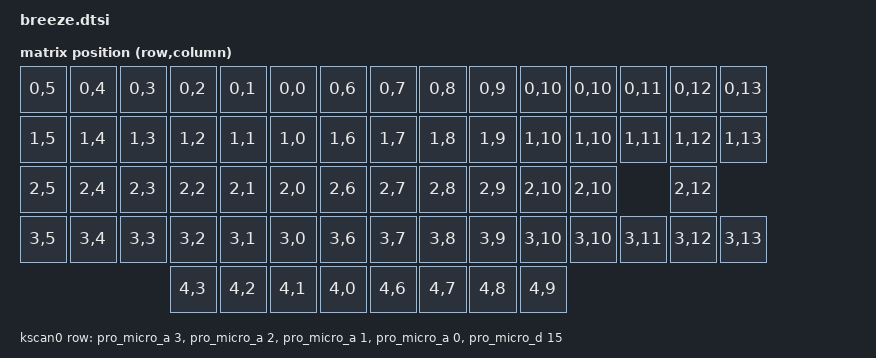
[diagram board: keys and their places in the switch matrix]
/*
 * Copyright (c) 2020 Pete Johanson
 *
 * SPDX-License-Identifier: MIT
 */

#include <dt-bindings/zmk/matrix_transform.h>

/ {
	chosen {
		zmk,kscan = &kscan0;
		zmk,matrix_transform = &default_transform;
	};

	default_transform: keymap_transform_0 {
		compatible = "zmk,matrix-transform";
		columns = <14>;
		rows = <5>;

// | L00 | L01 | L02 | L03 | L04 | L05 |           | R00 | R01 | R02 | R03 | R04 | R05 | MC0 | MC1 | MC2 |
// | L10 | L11 | L12 | L13 | L14 | L15 |           | R10 | R11 | R12 | R13 | R14 | R15 | MC3 | MC4 | MC5 |
// | L20 | L21 | L22 | L23 | L24 | L25 |           | R20 | R21 | R22 | R23 | R24 | R25 |     | AUP |     |
// | L30 | L31 | L32 | L33 | L34 | L35 |           | R30 | R31 | R32 | R33 | R34 | R35 | ALT | ADN | ART |
// |                   LT0 | LT1 | LT2 | LT3 | RT0 | RT1 | RT2 | RT3 

                 map = <
RC(0,5) RC(0,4) RC(0,3) RC(0,2) RC(0,1) RC(0,0)                 RC(0,6) RC(0,7) RC(0,8) RC(0,9) RC(0,10) RC(0,10) RC(0,11) RC(0,12) RC(0,13)
RC(1,5) RC(1,4) RC(1,3) RC(1,2) RC(1,1) RC(1,0)                 RC(1,6) RC(1,7) RC(1,8) RC(1,9) RC(1,10) RC(1,10) RC(1,11) RC(1,12) RC(1,13)
RC(2,5) RC(2,4) RC(2,3) RC(2,2) RC(2,1) RC(2,0)                 RC(2,6) RC(2,7) RC(2,8) RC(2,9) RC(2,10) RC(2,10)          RC(2,12)
RC(3,5) RC(3,4) RC(3,3) RC(3,2) RC(3,1) RC(3,0)                 RC(3,6) RC(3,7) RC(3,8) RC(3,9) RC(3,10) RC(3,10) RC(3,11) RC(3,12) RC(3,13)
                        RC(4,3) RC(4,2) RC(4,1) RC(4,0) RC(4,6) RC(4,7) RC(4,8) RC(4,9)
		>;
	};

	kscan0: kscan {
		compatible = "zmk,kscan-gpio-matrix";
		label = "KSCAN";

		diode-direction = "col2row";
		row-gpios
			= <&pro_micro_a 3  (GPIO_ACTIVE_HIGH | GPIO_PULL_DOWN)>
			, <&pro_micro_a 2  (GPIO_ACTIVE_HIGH | GPIO_PULL_DOWN)>
			, <&pro_micro_a 1  (GPIO_ACTIVE_HIGH | GPIO_PULL_DOWN)>
			, <&pro_micro_a 0  (GPIO_ACTIVE_HIGH | GPIO_PULL_DOWN)>
			, <&pro_micro_d 15 (GPIO_ACTIVE_HIGH | GPIO_PULL_DOWN)>
			;

	};
};
